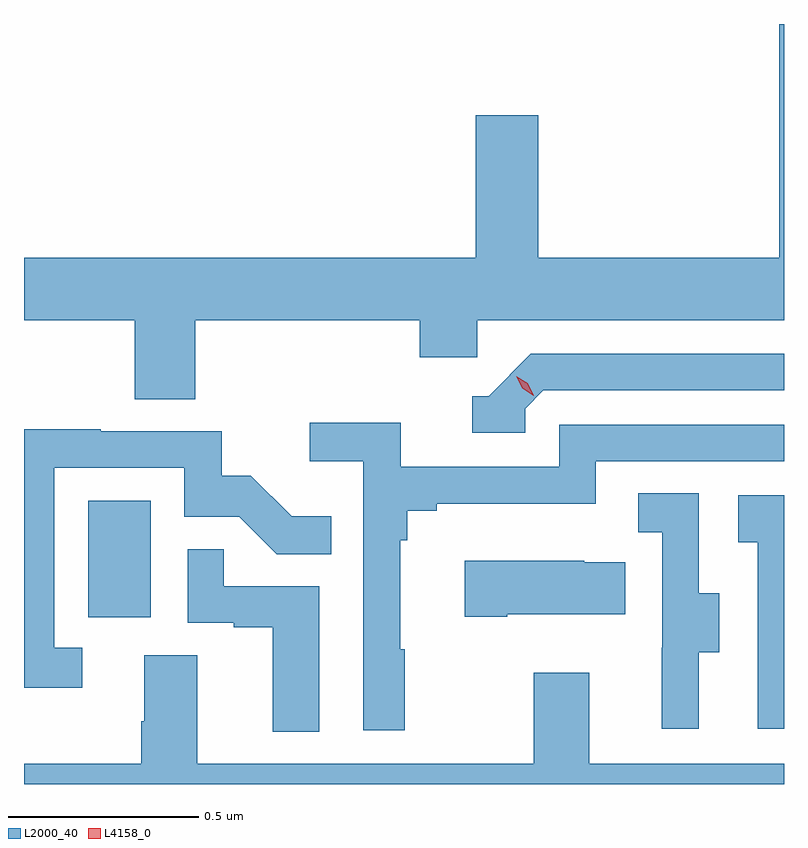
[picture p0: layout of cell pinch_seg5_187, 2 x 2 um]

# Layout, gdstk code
import gdstk
lib = gdstk.Library(unit=1e-6, precision=1e-09)
def R(c, l, rs):  # rectangles x0, y0, x1, y1
    for r in rs: c.add(gdstk.rectangle(r[:2], r[2:], *l))
def P(c, l, *ps):  # polygons
    for p in ps: c.add(gdstk.Polygon(p, *l))
L2000_40 = (2000, 40)
L4158_0 = (4158, 0)

pinch_seg5_187 = lib.new_cell('pinch_seg5_187')
R(pinch_seg5_187, L2000_40, [(1123.028,875.958,1123.192,876.265)])
P(pinch_seg5_187, L2000_40, [(1123.31,876.74),(1123.901,876.74),(1123.901,876.642),(1124.052,876.642),(1124.052,876.74),(1124.859,876.74),(1124.859,877.519),(1124.846,877.519),(1124.846,876.904),(1124.212,876.904),(1124.212,877.279),(1124.048,877.279),(1124.048,876.904),(1122.859,876.904),(1122.859,876.74),(1123.15,876.74),(1123.15,876.532),(1123.31,876.532)],
  [(1124.178,876.507),(1124.226,876.555),(1124.859,876.555),(1124.859,876.651),(1124.193,876.651),(1124.082,876.54),(1124.039,876.54),(1124.039,876.444),(1124.178,876.444)],
  [(1123.861,875.873),(1123.849,875.873),(1123.849,876.161),(1123.868,876.161),(1123.868,876.238),(1123.945,876.238),(1123.945,876.257),(1124.364,876.257),(1124.364,876.369),(1124.859,876.369),(1124.859,876.465),(1124.268,876.465),(1124.268,876.354),(1123.85,876.354),(1123.85,876.47),(1123.611,876.47),(1123.611,876.368),(1123.752,876.368),(1123.752,875.661),(1123.861,875.661)],
  [(1123.012,875.877),(1122.939,875.877),(1122.939,876.351),(1123.281,876.351),(1123.281,876.222),(1123.426,876.222),(1123.524,876.124),(1123.667,876.124),(1123.667,876.223),(1123.563,876.223),(1123.456,876.33),(1123.38,876.33),(1123.38,876.447),(1123.061,876.447),(1123.061,876.452),(1122.859,876.452),(1122.859,875.772),(1123.012,875.772)],
  [(1124.635,875.866),(1124.689,875.866),(1124.689,876.021),(1124.634,876.021),(1124.634,876.284),(1124.475,876.284),(1124.475,876.181),(1124.538,876.181),(1124.538,875.877),(1124.537,875.877),(1124.537,875.664),(1124.635,875.664)],
  [(1124.859,876.279),(1124.739,876.279),(1124.739,876.155),(1124.79,876.155),(1124.79,875.664),(1124.859,875.664)],
  [(1123.636,876.039),(1123.385,876.039),(1123.385,876.137),(1123.29,876.137),(1123.29,875.943),(1123.411,875.943),(1123.411,875.931),(1123.514,875.931),(1123.514,875.657),(1123.636,875.657)],
  [(1124.131,875.966),(1124.441,875.966),(1124.441,876.103),(1124.333,876.103),(1124.333,876.106),(1124.019,876.106),(1124.019,875.959),(1124.131,875.959)],
  [(1124.859,875.572),(1124.347,875.572),(1124.347,875.812),(1124.2,875.812),(1124.2,875.572),(1123.315,875.572),(1123.315,875.858),(1123.175,875.858),(1123.175,875.684),(1123.168,875.684),(1123.168,875.572),(1122.859,875.572),(1122.859,875.519),(1124.859,875.519)])
P(pinch_seg5_187, L4158_0, [(1124.201,876.541),(1124.17,876.56),(1124.154,876.592),(1124.154,876.592),(1124.154,876.592),(1124.185,876.573),(1124.201,876.541),(1124.201,876.541)])

lib.write_gds('pinch_seg5_187.gds')
